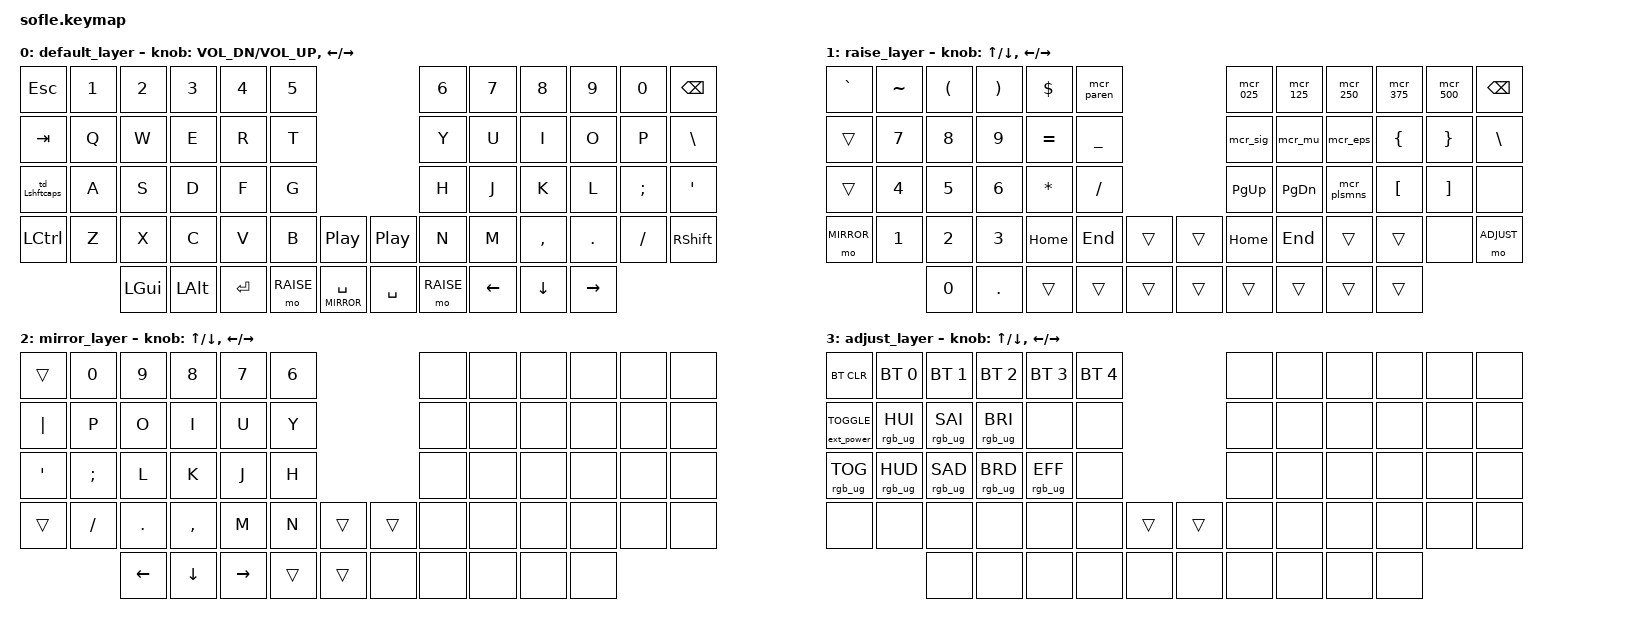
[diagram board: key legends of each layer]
#include <behaviors.dtsi>
#include <dt-bindings/zmk/keys.h>
#include <dt-bindings/zmk/bt.h>
#include <dt-bindings/zmk/rgb.h>
#include <dt-bindings/zmk/ext_power.h>

#include "../zmk-nodefree-config/helper.h"
#include "../zmk-nodefree-config/keypos_def/keypos_36keys.h"
#include "../zmk-nodefree-config/international_chars/german.dtsi"

#define BASE 0
#define RAISE 1
#define MIRROR 2
#define ADJUST 3

&sensors {
    triggers-per-rotation = <20>;
};

#define MO_TOG(layer) &mo_tog layer layer   // Macro to apply momentary-layer-on-hold/toggle-layer-on-tap to a specific layer
#define COMBO(NAME, BINDINGS, KEYPOS) \
  combo_##NAME { \
    timeout-ms = <40>; \
    bindings = <BINDINGS>; \
    key-positions = <KEYPOS>; \
    layers = <0 1 2>; \
  };

#define STRINGIFY(x) #x
#define EXPAND_AND_STRINGIFY(x) STRINGIFY(x)
#define MACRO(NAME, BINDINGS) \
  mcr_##NAME: mcr_##NAME { \
    label = EXPAND_AND_STRINGIFY(mcr_##NAME); \
    compatible = "zmk,behavior-macro"; \
    #binding-cells = <0>; \
    wait-ms = <20>; \
    tap-ms = <10>; \
    bindings = <BINDINGS>; \
  };

ZMK_UNICODE_SINGLE(ucd_delta,  N0, N3, N9, N4)

&mt {
    tapping-term-ms = <200>;
    retro-tap;
};
    
/ {
    macros {
        // Symbol macros and others
        MACRO(deg, &macro_press &kp LALT &macro_tap &kp KP_N2 &kp KP_N4 &kp KP_N8 &macro_release &kp LALT)
        MACRO(mu, &macro_press &kp LALT &macro_tap &kp KP_N2 &kp KP_N3 &kp KP_N0 &macro_release &kp LALT)
        MACRO(eps, &macro_press &kp LALT &macro_tap &kp KP_N2 &kp KP_N3 &kp KP_N8 &macro_release &kp LALT)
        MACRO(pi, &macro_press &kp LALT &macro_tap &kp KP_N2 &kp KP_N2 &kp KP_N7 &macro_release &kp LALT)
        MACRO(sig, &macro_press &kp LALT &macro_tap &kp KP_N2 &kp KP_N2 &kp KP_N9 &macro_release &kp LALT)
        MACRO(plsmns, &macro_press &kp LALT &macro_tap &kp KP_N0 &kp KP_N1 &kp KP_N7 &kp KP_N7 &macro_release &kp LALT)
        MACRO(int, &macro_press &kp LSHFT &macro_tap &kp I &macro_release &kp LSHFT &macro_tap &kp N &kp T &kp E &kp R &kp F &kp E &kp R &kp O &kp M &kp E &kp T &kp E &kp R &kp N1)
        MACRO(paren, &macro_tap &kp F2 &kp LPAR &kp RPAR &kp LEFT)

        // Macros to move by whole words and select words
        MACRO(prv_wrd, &macro_press &kp LCTRL &macro_tap &kp LEFT &macro_release &kp LCTRL)
        MACRO(nxt_wrd, &macro_press &kp LCTRL &macro_tap &kp RIGHT &macro_release &kp LCTRL)
        MACRO(sel_prv, &macro_press &kp LCTRL &kp LSHFT &macro_tap &kp LEFT &macro_release &kp LCTRL &kp LSHFT)
        MACRO(sel_wrd, &macro_press &kp LCTRL &macro_tap &kp RIGHT &macro_press &kp LSHFT &macro_tap &kp LEFT &macro_release &kp LCTRL &kp LSHFT)
        MACRO(sel_nxt, &macro_press &kp LCTRL &kp LSHFT &macro_tap &kp RIGHT &macro_release &kp LCTRL &kp LSHFT)

        // Macros to type common decimal numbers in SolidWorks
        MACRO(025, &macro_press &kp LCTRL &macro_tap &kp A &macro_release &kp LCTRL &macro_tap &kp KP_N0 &kp DOT &kp KP_N0 &kp KP_N2 &kp KP_N5 &macro_tap &kp RET)
        MACRO(100, &macro_press &kp LCTRL &macro_tap &kp A &macro_release &kp LCTRL &macro_tap &kp KP_N0 &kp DOT &kp KP_N1 &macro_tap &kp RET)
        MACRO(125, &macro_press &kp LCTRL &macro_tap &kp A &macro_release &kp LCTRL &macro_tap &kp KP_N0 &kp DOT &kp KP_N1 &kp KP_N2 &kp KP_N5 &macro_tap &kp RET)
        MACRO(187, &macro_press &kp LCTRL &macro_tap &kp A &macro_release &kp LCTRL &macro_tap &kp KP_N0 &kp DOT &kp KP_N1 &kp KP_N8 &kp KP_N7 &kp KP_N5 &macro_tap &kp RET)
        MACRO(250, &macro_press &kp LCTRL &macro_tap &kp A &macro_release &kp LCTRL &macro_tap &kp KP_N0 &kp DOT &kp KP_N2 &kp KP_N5 &macro_tap &kp RET)
        MACRO(375, &macro_press &kp LCTRL &macro_tap &kp A &macro_release &kp LCTRL &macro_tap &kp KP_N0 &kp DOT &kp KP_N3 &kp KP_N7 &kp KP_N5 &macro_tap &kp RET)
        MACRO(500, &macro_press &kp LCTRL &macro_tap &kp A &macro_release &kp LCTRL &macro_tap &kp KP_N0 &kp DOT &kp KP_N5 &macro_tap &kp RET)
        MACRO(625, &macro_press &kp LCTRL &macro_tap &kp A &macro_release &kp LCTRL &macro_tap &kp KP_N0 &kp DOT &kp KP_N6 &kp KP_N2 &kp KP_N5 &macro_tap &kp RET)
        MACRO(750, &macro_press &kp LCTRL &macro_tap &kp A &macro_release &kp LCTRL &macro_tap &kp KP_N0 &kp DOT &kp KP_N7 &kp KP_N5 &macro_tap &kp RET)
        MACRO(875, &macro_press &kp LCTRL &macro_tap &kp A &macro_release &kp LCTRL &macro_tap &kp KP_N0 &kp DOT &kp KP_N8 &kp KP_N7 &kp KP_N5 &macro_tap &kp RET)
};

        combos {
            compatible = "zmk,combos";

/*                        KEY POSITIONS
  ╭────────────────────────╮         ╭────────────────────────╮
  │  0   1   2   3   4   5 │         │  6   7   8   9  10  11 │
  │ 12  13  14  15  16  17 │         │ 18  19  20  21  22  23 │
  │ 24  25  26  27  28  29 ╰───╮ ╭───╯ 30  31  32  33  34  35 │
  │ 36  37  38  39  40  41  42 | | 43  44  45  46  47  48  49 │  encoder pushbuttons on 42 and 43
  ╰───────╮ 50  51  52  53  54 │ │ 55  56  57  58  59 ╭───────╯
          ╰────────────────────╯ ╰────────────────────╯        */

/*╭─────────────────────────╮   COMBOS   ╭────────────────────────╮
  │ _   _    _    _   _   _ │    with    │  _   _   _   _   _   _ │
  │ _   _    _    _   _   _ │ RAISE (53) │  _   _   _   _   _   _ │
  │ _   _    _    _   _   _ ╰────╮   ╭───╯  _   _   _   _   _   _ │
  │ _   π    °    σ   µ   ε    _ |   | _    _   _   _   _   _   _ │
  ╰───────╮ PSCRN _   _  RAISE _ │   │ _    _   _   _   _ ╭───────╯
          ╰──────────────────────╯   ╰────────────────────╯        */
            COMBO(cmb_delta, &ucd_delta, 36 53)
            COMBO(cmb_pi, &mcr_pi, 37 53)
            COMBO(cmb_deg, &mcr_deg, 38 53)
            COMBO(cmb_sig, &mcr_sig, 39 53)
            COMBO(cmb_mu, &mcr_mu, 40 53)
            COMBO(cmb_eps, &mcr_eps, 41 53)
            COMBO(cmb_pscrn, &kp PSCRN, 50 53)

/*╭─────────────────────────────╮   COMBOS   ╭────────────────────────╮
  │ _   _    _    _    _    _   │    with    │  _   _   _   _   _   _ │
  │ _  .375 .500 .625 .750 .875 │ SPACE (54) │  _   _   _   _   _   _ │
  │ _  .025 .100 .125 .187 .250 ╰───╮    ╭───╯  _   _   _   _   _   _ │
  │ _   _    _    _    _    _    _  |    | _    _   _   _   _   _   _ │
  ╰───────╮  _    _    _    _    _  │    │ _    _   _   _   _ ╭───────╯
          ╰─────────────────────────╯    ╰────────────────────╯        */
            COMBO(cmb_025, &mcr_025, 25 54)
            COMBO(cmb_100, &mcr_100, 26 54)
            COMBO(cmb_125, &mcr_125, 27 54)
            COMBO(cmb_187, &mcr_187, 28 54)
            COMBO(cmb_250, &mcr_250, 29 54)
            COMBO(cmb_375, &mcr_375, 13 54)
            COMBO(cmb_500, &mcr_500, 14 54)
            COMBO(cmb_625, &mcr_625, 15 54)
            COMBO(cmb_750, &mcr_750, 16 54)
            COMBO(cmb_875, &mcr_875, 17 54)

/*╭─────────────────────────╮  OTHER   ╭──────────────────────────╮
  │ _   _    _    _   _   _ │  COMBOS  │  _   _   _   _   _     _ │
  │ _   _{bs}_{dl}_   _{+}_ │          │  _   _   _   _   _     _ │
  │ _   _    _    _   _{-}_ ╰────╮ ╭───╯  _   _   _   _   _{RET}_ │
  │ _   _    _    _   _{±}_    _ | | _    _   _   _   _   _     _ │
  ╰──────╮   _{^} _   _   _    _ │ │ _    _   _{^}_   _ ╭─────────╯
         ╰───────────────────────╯ ╰────────────────────╯        */
            COMBO(cmb_bspc, &kp BSPC, 13 14)
            COMBO(cmb_del, &kp DEL, 14 15)
            COMBO(cmb_enter, &kp RET, 34 35)
            COMBO(cmb_plus, &kp PLUS, 16 17)
            COMBO(cmb_minus, &kp MINUS, 28 29)
            COMBO(cmb_plsmns, &mcr_plsmns, 40 41)
            COMBO(cmb_up1, &kp UP, 57 58)        // Up arrow by pressing left and down
            COMBO(cmb_up2, &kp UP, 50 51)        // Up arrow by pressing left and down (for use on the mirror layer, but active on all layers)
            COMBO(cmb_int, &mcr_int, 9 10 11)
        };
};
/ {
    behaviors {
        mo_tog: behavior_mo_tog {
            compatible = "zmk,behavior-hold-tap";
            label = "mo_tog";
            #binding-cells = <2>;
            flavor = "hold-preferred";
            tapping-term-ms = <200>;
            bindings = <&mo>, <&tog>;
        };
        td_Lshftcaps: td_Lshftcaps {
            compatible = "zmk,behavior-tap-dance";
            label = "td_Lshftcaps";
            #binding-cells = <0>;
            tapping-term-ms = <200>;
            bindings = <&kp LSHFT>, <&kp CAPS>;
        };
    };
  
    keymap {
        compatible = "zmk,keymap";
        
        default_layer {
/* ╭─────────────────────────────────╮                 ╭──────────────────────────────────╮
   |   ESC    1    2    3    4    5  |                 |  6    7    8    9    0    BKSPC  |
   |   TAB    Q    W    E    R    T  |                 |  Y    U    I    O    P     \ |   |
   | SHFT/CAP A    S    D    F    G  ╰───────╮ ╭───────╯  H    J    K    L    ;:    '"    |
   |   CTRL   Z    X    C    V    B     C_PP | | C_PP     N    M    ,    .    /?   SHIFT  |
   ╰────────────╮ WIN  ALT ENTER RAISE SPACE | | SPACE RAISE   <-   v   -> ╭──────────────╯
                ╰────────────────────────────╯ ╰───────────────────────────╯              */
            bindings = <
&kp ESC       &kp N1 &kp N2   &kp N3   &kp N4  &kp N5                               &kp N6    &kp N7   &kp N8    &kp N9   &kp N0   &kp BSPC
&kp TAB       &kp Q  &kp W    &kp E    &kp R   &kp T                                &kp Y     &kp U    &kp I     &kp O    &kp P    &kp BSLH
&td_Lshftcaps &kp A  &kp S    &kp D    &kp F   &kp G                                &kp H     &kp J    &kp K     &kp L    &kp SEMI &kp APOS
&kp LCTRL     &kp Z  &kp X    &kp C    &kp V   &kp B     &kp C_PP         &kp C_PP  &kp N     &kp M    &kp COMMA &kp DOT  &kp FSLH &kp RSHFT
                     &kp LGUI &kp LALT &kp RET &mo RAISE &lt MIRROR SPACE &kp SPACE &mo RAISE &kp LEFT &kp DOWN  &kp RIGHT
            >;
            sensor-bindings = <&inc_dec_kp C_VOL_DN C_VOL_UP &inc_dec_kp LEFT RIGHT>;
        };
        
        raise_layer {
/* ╭───────────────────────────────────╮               ╭───────────────────────────────────╮
   |    `      ~     (    )    $    () |               | .025  .125  .25  .375  0.5  BKSPC |
   |   TAB     7     8    9    =    _  |               |  σ     µ     ε    {     }   BSLH  |
   |           4     5    6    *    /  ╰──────╮ ╭──────╯ PG_UP PG_DN       [     ]         |
   | MirrorLyr 1     2    3  HOME  END   C_PP | | C_PP   HOME  END    ,    .      AdjustLyr|
   ╰────────────╮    0    .  ENTER      SPACE | | SPACE         <-    v   -> ╭─────────────╯
                ╰─────────────────────────────╯ ╰────────────────────────────╯              */
            bindings = <
&kp GRAVE  &kp TILDE &kp LPAR &kp RPAR &kp DLLR  &mcr_paren                   &mcr_025  &mcr_125  &mcr_250    &mcr_375 &mcr_500 &kp BSPC
&trans     &kp N7    &kp N8   &kp N9   &kp EQUAL &kp UNDER                    &mcr_sig  &mcr_mu   &mcr_eps    &kp LBRC &kp RBRC &kp BSLH
&trans     &kp N4    &kp N5   &kp N6   &kp STAR  &kp FSLH                     &kp PG_UP &kp PG_DN &mcr_plsmns &kp LBKT &kp RBKT &none
&mo MIRROR &kp N1    &kp N2   &kp N3   &kp HOME  &kp END   &trans      &trans &kp HOME  &kp END   &trans      &trans   &none    &mo ADJUST
                     &kp N0   &kp DOT  &trans    &trans    &trans      &trans &trans    &trans    &trans      &trans
            >;
            sensor-bindings = <&inc_dec_kp UP DOWN &inc_dec_kp LEFT RIGHT>;
        };

        mirror_layer {
/* ╭──────────────────────────────╮               ╭─────────────────────────╮
   |      0     9    8    7    6  |               │                         │
   |  |   P     O    I    U    Y  |               │                         │
   |  '"  ;:    L    K    J    H  ╰──────╮ ╭──────╯                         │
   |      /?    .    ,    M    N    C_PP | | C_PP                           │
   ╰─────────╮  <-   v   ->        SPACE | |                       ╭────────╯
             ╰───────────────────────────╯ ╰───────────────────────╯         */
            bindings = <
&trans   &kp N0   &kp N9   &kp N8    &kp N7    &kp N6                 &none &none &none &none &none &none
&kp PIPE &kp P    &kp O    &kp I     &kp U     &kp Y                  &none &none &none &none &none &none
&kp APOS &kp SEMI &kp L    &kp K     &kp J     &kp H                  &none &none &none &none &none &none
&trans   &kp FSLH &kp DOT  &kp COMMA &kp M     &kp N  &trans   &trans &none &none &none &none &none &none
                  &kp LEFT &kp DOWN  &kp RIGHT &trans &trans   &none  &none &none &none &none
            >;
            sensor-bindings = <&inc_dec_kp UP DOWN &inc_dec_kp LEFT RIGHT>;
        };
        
        adjust_layer {
/* ╭─────────────────────────────────╮          ╭─────────────────────────╮
   │ BTCLR   BT1  BT2  BT3  BT4  BT5 │          │  _   _   _   _   _   _  │
   │ ExtPwr  Hue+ Sat+ Bri+  _    _  │          │  _   _   _   _   _   _  │
   │ TogRGB  Hue- Sat- Bri- Eff   _  ╰────╮ ╭───╯  _   _   _   _   _   _  │
   │   _      _    _    _    _    _  C_PP | | C_PP _   _   _   _   _   _  │
   ╰────────╮ _    _    _    _    _    _  │ │  _   _   _   _   _ ╭────────╯
            ╰─────────────────────────────╯ ╰────────────────────╯        */
        bindings = <
&bt BT_CLR                      &bt BT_SEL 0    &bt BT_SEL 1    &bt BT_SEL 2    &bt BT_SEL 3    &bt BT_SEL 4               &none &none &none &none &none &none
&ext_power EXT_POWER_TOGGLE_CMD &rgb_ug RGB_HUI &rgb_ug RGB_SAI &rgb_ug RGB_BRI &none           &none                      &none &none &none &none &none &none
&rgb_ug RGB_TOG                 &rgb_ug RGB_HUD &rgb_ug RGB_SAD &rgb_ug RGB_BRD &rgb_ug RGB_EFF &none                      &none &none &none &none &none &none
&none                           &none           &none           &none           &none           &none        &trans &trans &none &none &none &none &none &none
                                                &none           &none           &none           &none        &none  &none  &none &none &none &none
            >;
            sensor-bindings = <&inc_dec_kp UP DOWN &inc_dec_kp LEFT RIGHT>;
        };
    };
};
